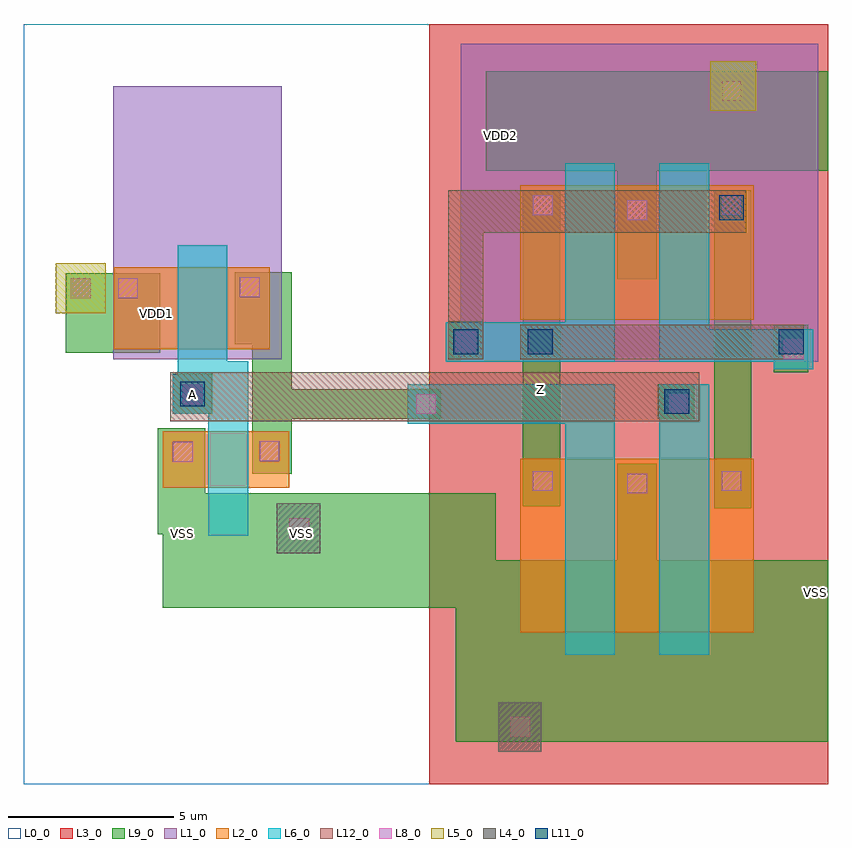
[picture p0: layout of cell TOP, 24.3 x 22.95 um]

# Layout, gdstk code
import gdstk
lib = gdstk.Library(unit=1e-6, precision=1e-09)
def R(c, l, rs):  # rectangles x0, y0, x1, y1
    for r in rs: c.add(gdstk.rectangle(r[:2], r[2:], *l))
def P(c, l, *ps):  # polygons
    for p in ps: c.add(gdstk.Polygon(p, *l))
L0_0 = (0, 0)
L1_0 = (1, 0)
L2_0 = (2, 0)
L3_0 = (3, 0)
L4_0 = (4, 0)
L5_0 = (5, 0)
L6_0 = (6, 0)
L8_0 = (8, 0)
L9_0 = (9, 0)
L11_0 = (11, 0)
L12_0 = (12, 0)

top = lib.new_cell('TOP')
R(top, L0_0, [(0,0,24.3,22.95)])
R(top, L1_0, [(13.2,12.75,24,22.35), (2.7,12.825,7.8,21.075)])
R(top, L2_0, [(15,4.575,22.05,9.825), (4.2,8.95,8.025,10.65), (2.72,13.125,7.425,15.6), (15,14.025,22.05,18.075)])
R(top, L3_0, [(12.25,0,24.3,22.95)])
R(top, L4_0, [(14.325,0.975,15.63,2.475), (7.65,6.975,8.955,8.475)])
R(top, L5_0, [(0.975,14.22,2.475,15.72), (20.73,20.325,22.125,21.825)])
R(top, L6_0, [(19.2,3.9,20.7,12.075)])
P(top, L6_0, [(5.58,7.5),(5.58,11.175),(4.5,11.175),(4.5,12.375),(4.65,12.375),(4.65,16.275),(6.15,16.275),(6.15,12.765),(6.78,12.765),(6.78,7.5)],
  [(16.35,3.9),(16.35,10.875),(11.6,10.875),(11.6,12.075),(17.85,12.075),(17.85,3.9)],
  [(12.75,12.75),(12.75,13.95),(16.35,13.95),(16.35,18.75),(17.85,18.75),(17.85,12.75)],
  [(22.65,12.525),(22.65,12.75),(19.2,12.75),(19.2,18.75),(20.7,18.75),(20.7,13.725),(23.85,13.725),(23.85,12.525)])
R(top, L8_0, [(14.7,1.425,15.3,2.025), (8.025,7.425,8.625,8.025), (18.225,8.775,18.825,9.375), (15.375,8.85,15.975,9.45), (21.075,8.85,21.675,9.45), (4.5,9.735,5.1,10.335), (7.125,9.75,7.725,10.35), (11.85,11.175,12.45,11.775), (19.5,11.175,20.1,11.775), (4.8,11.475,5.4,12.075), (22.95,12.825,23.55,13.425), (13.05,13.05,13.65,13.65), (1.425,14.67,2.025,15.27), (2.85,14.67,3.45,15.27), (6.525,14.7,7.125,15.3), (18.225,17.025,18.825,17.625), (15.375,17.175,15.975,17.775), (21.075,17.175,21.675,17.775), (21.075,20.625,21.675,21.225)])
R(top, L9_0, [(4.05,7.545,5.49,10.74), (20.85,8.325,21.975,17.925), (15.075,8.385,16.2,17.925), (19.155,11.025,20.25,12.075), (4.5,11.175,5.7,12.39), (22.65,12.435,23.7,13.875), (12.825,12.825,13.875,13.98), (1.275,13.02,4.125,15.42)])
P(top, L9_0, [(6.9,9.375),(6.9,13.275),(6.375,13.275),(6.375,15.45),(8.1,15.45),(8.1,11.925),(12.6,11.925),(12.6,11.025),(8.1,11.025),(8.1,9.375)],
  [(17.925,15.24),(17.925,18.525),(13.95,18.525),(13.95,21.525),(24.3,21.525),(24.3,18.525),(19.125,18.525),(19.125,15.24)],
  [(13.05,1.275),(13.05,5.325),(4.2,5.325),(4.2,8.775),(14.25,8.775),(14.25,6.75),(17.925,6.75),(17.925,9.675),(19.125,9.675),(19.125,6.75),(24.3,6.75),(24.3,1.275)])
R(top, L11_0, [(19.35,11.175,20.1,11.925), (4.725,11.4,5.475,12.15), (12.975,12.975,13.725,13.725), (15.225,12.975,15.975,13.725), (22.8,12.975,23.55,13.725), (21,17.025,21.75,17.775)])
R(top, L12_0, [(4.425,10.95,20.4,12.435), (15,12.825,23.55,13.875)])
P(top, L12_0, [(12.825,12.825),(12.825,17.925),(21.825,17.925),(21.825,16.65),(13.875,16.65),(13.875,12.825)])
top.add(gdstk.Label('VDD1', (4.025,14.22), layer=10, texttype=0))
top.add(gdstk.Label('VSS', (23.925,5.775), layer=10, texttype=0))
top.add(gdstk.Label('A', (5.1,11.775), layer=10, texttype=0))
top.add(gdstk.Label('Z', (15.6,11.925), layer=10, texttype=0))
top.add(gdstk.Label('VDD2', (14.4,19.575), layer=10, texttype=0))
top.add(gdstk.Label('VSS', (4.8,7.575), layer=10, texttype=0))
top.add(gdstk.Label('VSS', (8.4,7.575), layer=10, texttype=0))

lib.write_gds('TOP.gds')
